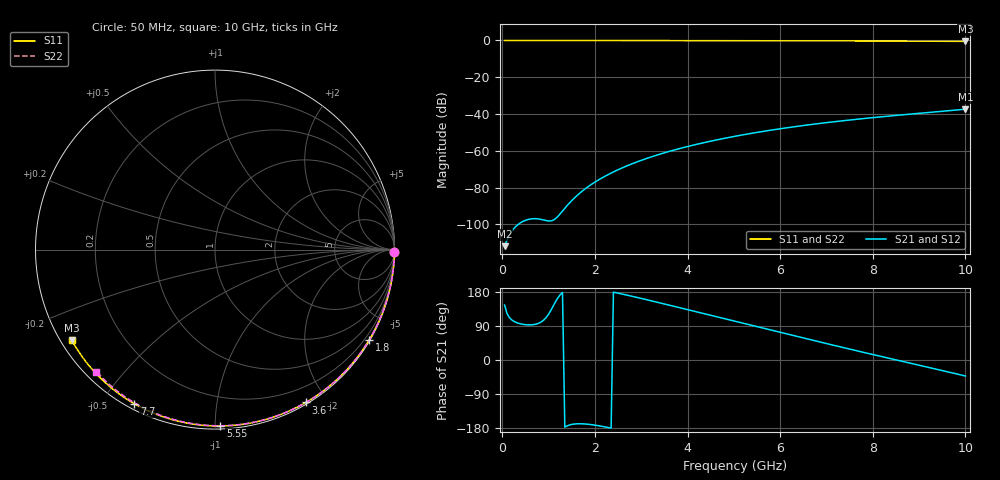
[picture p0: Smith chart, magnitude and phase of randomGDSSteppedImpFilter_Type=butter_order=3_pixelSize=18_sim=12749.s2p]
! freq	dB(S11)	phase(S11)	dB(S12)	phase(S12)
!  dB(S21)	phase(S21)	dB(S22)	phase(S22)
!S-par simulation data
#  GHz  S  DB  R 50
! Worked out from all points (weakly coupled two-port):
!   200 points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, 50 MHz to 10 GHz, reference 50 ohm
!   highest |S21| = -37.37 dB at 10 GHz (marker M1); lowest = -111.8 dB at 50 MHz (marker M2)
!   lowest |S11| = -0.5 dB at 10 GHz (marker M3), VSWR 34.97, Z = 1.55 - j14.5 ohm
!   |S11| at or under -10 dB: nowhere
!   |S22| runs from -0.5 to 0.0 dB; largest |S21 - S12| = 0
!   S11 on the Smith chart (normalised r, x): 50 MHz: open; 1.8 GHz: 0.03, -3.68; 3.6 GHz: 0.02, -1.76; 5.55 GHz: 0.02, -1.03; 7.7 GHz: 0.02, -0.61; 10 GHz: 0.03, -0.29
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0.05  -0.00 -0.9  -111.80 145.1  -111.80 145.1  -0.00 -0.8
0.45  -0.01 -7.7  -98.30 94.0  -98.30 94.0  -0.01 -6.9
0.9  -0.02 -15.4  -97.60 106.0  -97.60 106.0  -0.02 -13.8
1.3  -0.03 -22.1  -92.70 178.3  -92.70 178.3  -0.02 -19.8
1.75  -0.04 -29.6  -81.39 -168.5  -81.39 -168.5  -0.03 -26.6
1.8  -0.04 -30.4  -80.43 -169.0  -80.43 -169.0  -0.03 -27.3
1.85  -0.04 -31.2  -79.51 -169.6  -79.51 -169.6  -0.04 -28.1
2.05  -0.04 -34.5  -76.20 -172.9  -76.20 -172.9  -0.04 -31.0
2.2  -0.05 -37.0  -74.03 -176.1  -74.03 -176.1  -0.04 -33.3
2.55  -0.05 -42.7  -69.69 175.1  -69.69 175.1  -0.05 -38.4
2.95  -0.06 -49.1  -65.61 164.0  -65.61 164.0  -0.06 -44.2
3.4  -0.07 -56.2  -61.81 150.8  -61.81 150.8  -0.07 -50.6
3.6  -0.08 -59.3  -60.32 144.9  -60.32 144.9  -0.07 -53.4
4.3  -0.10 -70.0  -55.84 123.9  -55.84 123.9  -0.09 -63.2
5.05  -0.12 -81.0  -51.96 101.4  -51.96 101.4  -0.11 -73.3
5.55  -0.14 -88.2  -49.76 86.4  -49.76 86.4  -0.13 -79.8
6.1  -0.17 -96.0  -47.62 69.9  -47.62 69.9  -0.15 -86.9
6.7  -0.20 -104.2  -45.58 52.2  -45.58 52.2  -0.18 -94.5
7.7  -0.27 -117.6  -42.71 23.0  -42.71 23.0  -0.24 -106.7
8.35  -0.32 -126.2  -41.10 4.5  -41.10 4.5  -0.29 -114.6
9.2  -0.41 -137.2  -39.15 -19.3  -39.15 -19.3  -0.37 -124.7
10  -0.50 -147.6  -37.37 -42.3  -37.37 -42.3  -0.47 -134.2
